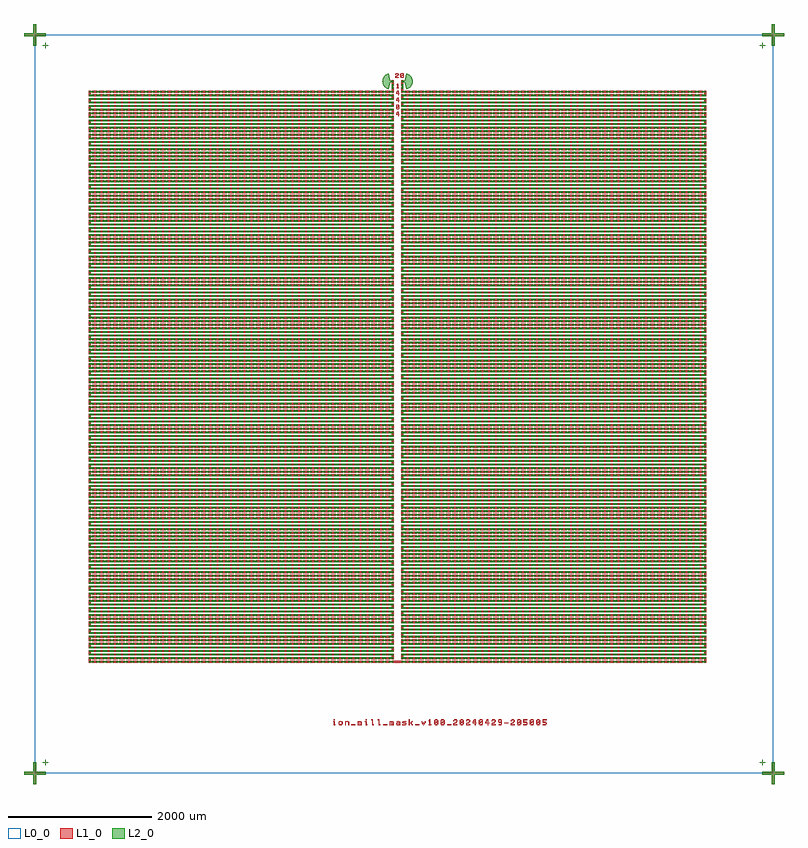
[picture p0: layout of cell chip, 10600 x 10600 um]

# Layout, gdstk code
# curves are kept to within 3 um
import gdstk
lib = gdstk.Library(unit=1e-6, precision=1e-09)
def R(c, l, rs):  # rectangles x0, y0, x1, y1
    for r in rs: c.add(gdstk.rectangle(r[:2], r[2:], *l))
def A(c, l, x, y, w, h, nx, ny, dx, dy):  # array of equal rectangles
    R(c, l, [(x+i*dx, y+j*dy, x+i*dx+w, y+j*dy+h) for i in range(nx) for j in range(ny)])
def P(c, l, *ps):  # polygons
    for p in ps: c.add(gdstk.Polygon(p, *l))
L0_0 = (0, 0)
L1_0 = (1, 0)
L2_0 = (2, 0)

chip = lib.new_cell('chip')
R(chip, L0_0, [(-150,-150,10150,10150), (0,0,10000,10000)])
A(chip, L1_0, 605, 1392.5, 25, 75, 1, 80, 0, 100)
A(chip, L1_0, 650, 1392.5, 75, 25, 44, 160, 95, 50)
A(chip, L1_0, 5010, 1392.5, 75, 25, 44, 160, 95, 50)
A(chip, L1_0, 9190, 1392.5, 25, 75, 1, 80, 0, 100)
A(chip, L1_0, 4830, 1442.5, 25, 75, 1, 80, 0, 100)
A(chip, L1_0, 4965, 1442.5, 25, 75, 1, 80, 0, 100)
R(chip, L1_0, [(5111.111,522.222,5122.222,533.333), (5266.667,522.222,5277.778,533.333), (4888.889,533.333,4900,544.444), (5022.222,533.333,5033.333,544.444), (5100,533.333,5111.111,544.444), (4977.778,555.556,4988.889,566.667), (5100,555.556,5111.111,566.667), (5444.444,555.556,5455.556,566.667), (5533.333,555.556,5544.444,566.667), (5722.222,555.556,5733.333,566.667), (5800,555.556,5811.111,566.667), (5900,555.556,5911.111,566.667), (6066.667,555.556,6077.778,566.667), (6255.556,555.556,6266.667,566.667), (6522.222,555.556,6533.333,566.667), (6600,555.556,6611.111,566.667), (6777.778,555.556,6788.889,566.667), (6866.667,555.556,6877.778,566.667), (5111.111,566.667,5122.222,577.778), (5688.889,577.778,5700,588.889), (5866.667,577.778,5877.778,588.889), (6222.222,577.778,6233.333,588.889), (6488.889,577.778,6500,588.889), (4022.222,588.889,4033.333,600), (4466.667,588.889,4477.778,600), (4830,1392.5,4990,1417.5), (4907.778,9138.611,4916.667,9147.5), (4830,9437.5,4855,9512.5), (4965,9437.5,4990,9512.5), (4906.667,9576.944,4915.556,9585.833), (4968.889,9576.944,4977.778,9585.833), (4880,9594.722,4888.889,9603.611)])
P(chip, L1_0, [(10170,10130),(10300,10130),(10300,10170),(10170,10170),(10170,10300),(10130,10300),(10130,10170),(10000,10170),(10000,10130),(10130,10130),(10130,10000),(10170,10000)],
  [(-130,10130),(0,10130),(0,10170),(-130,10170),(-130,10300),(-170,10300),(-170,10170),(-300,10170),(-300,10130),(-170,10130),(-170,10000),(-130,10000)],
  [(10170,-170),(10300,-170),(10300,-130),(10170,-130),(10170,0),(10130,0),(10130,-130),(10000,-130),(10000,-170),(10130,-170),(10130,-300),(10170,-300)],
  [(-130,-170),(0,-170),(0,-130),(-130,-130),(-130,0),(-170,0),(-170,-130),(-300,-130),(-300,-170),(-170,-170),(-170,-300),(-130,-300)],
  [(10005,9995),(10040,9995),(10040,10005),(10005,10005),(10005,10040),(9995,10040),(9995,10005),(9960,10005),(9960,9995),(9995,9995),(9995,9960),(10005,9960)],
  [(5,9995),(40,9995),(40,10005),(5,10005),(5,10040),(-5,10040),(-5,10005),(-40,10005),(-40,9995),(-5,9995),(-5,9960),(5,9960)],
  [(10005,-5),(10040,-5),(10040,5),(10005,5),(10005,40),(9995,40),(9995,5),(9960,5),(9960,-5),(9995,-5),(9995,-40),(10005,-40)],
  [(5,-5),(40,-5),(40,5),(5,5),(5,40),(-5,40),(-5,5),(-40,5),(-40,-5),(-5,-5),(-5,-40),(5,-40)],
  [(4011.111,566.667),(4022.222,566.667),(4022.222,555.556),(4022.222,544.444),(4022.222,533.333),(4022.222,522.222),(4033.333,522.222),(4044.444,522.222),(4044.444,533.333),(4033.333,533.333),(4033.333,544.444),(4033.333,555.556),(4033.333,566.667),(4033.333,577.778),(4022.222,577.778),(4011.111,577.778)],
  [(4088.889,533.333),(4100,533.333),(4100,544.444),(4100,555.556),(4100,566.667),(4088.889,566.667),(4088.889,555.556),(4088.889,544.444)],
  [(4100,522.222),(4111.111,522.222),(4122.222,522.222),(4133.333,522.222),(4133.333,533.333),(4122.222,533.333),(4111.111,533.333),(4100,533.333)],
  [(4100,566.667),(4111.111,566.667),(4122.222,566.667),(4133.333,566.667),(4133.333,577.778),(4122.222,577.778),(4111.111,577.778),(4100,577.778)],
  [(4133.333,533.333),(4144.444,533.333),(4144.444,544.444),(4144.444,555.556),(4144.444,566.667),(4133.333,566.667),(4133.333,555.556),(4133.333,544.444)],
  [(4177.778,522.222),(4188.889,522.222),(4188.889,533.333),(4188.889,544.444),(4188.889,555.556),(4188.889,566.667),(4200,566.667),(4211.111,566.667),(4222.222,566.667),(4222.222,577.778),(4211.111,577.778),(4200,577.778),(4188.889,577.778),(4177.778,577.778),(4177.778,566.667),(4177.778,555.556),(4177.778,544.444),(4177.778,533.333)],
  [(4222.222,522.222),(4233.333,522.222),(4233.333,533.333),(4233.333,544.444),(4233.333,555.556),(4233.333,566.667),(4222.222,566.667),(4222.222,555.556),(4222.222,544.444),(4222.222,533.333)],
  [(4266.667,522.222),(4277.778,522.222),(4288.889,522.222),(4300,522.222),(4311.111,522.222),(4322.222,522.222),(4322.222,533.333),(4311.111,533.333),(4300,533.333),(4288.889,533.333),(4277.778,533.333),(4266.667,533.333)],
  [(4355.556,522.222),(4366.667,522.222),(4366.667,533.333),(4366.667,544.444),(4366.667,555.556),(4366.667,566.667),(4377.778,566.667),(4377.778,555.556),(4377.778,544.444),(4377.778,533.333),(4377.778,522.222),(4388.889,522.222),(4388.889,533.333),(4388.889,544.444),(4388.889,555.556),(4388.889,566.667),(4400,566.667),(4400,577.778),(4388.889,577.778),(4377.778,577.778),(4366.667,577.778),(4355.556,577.778),(4355.556,566.667),(4355.556,555.556),(4355.556,544.444),(4355.556,533.333)],
  [(4400,522.222),(4411.111,522.222),(4411.111,533.333),(4411.111,544.444),(4411.111,555.556),(4411.111,566.667),(4400,566.667),(4400,555.556),(4400,544.444),(4400,533.333)],
  [(4455.556,566.667),(4466.667,566.667),(4466.667,555.556),(4466.667,544.444),(4466.667,533.333),(4466.667,522.222),(4477.778,522.222),(4488.889,522.222),(4488.889,533.333),(4477.778,533.333),(4477.778,544.444),(4477.778,555.556),(4477.778,566.667),(4477.778,577.778),(4466.667,577.778),(4455.556,577.778)],
  [(4544.444,588.889),(4555.556,588.889),(4555.556,577.778),(4555.556,566.667),(4555.556,555.556),(4555.556,544.444),(4555.556,533.333),(4555.556,522.222),(4566.667,522.222),(4577.778,522.222),(4577.778,533.333),(4566.667,533.333),(4566.667,544.444),(4566.667,555.556),(4566.667,566.667),(4566.667,577.778),(4566.667,588.889),(4566.667,600),(4555.556,600),(4544.444,600)],
  [(4633.333,588.889),(4644.444,588.889),(4644.444,577.778),(4644.444,566.667),(4644.444,555.556),(4644.444,544.444),(4644.444,533.333),(4644.444,522.222),(4655.556,522.222),(4666.667,522.222),(4666.667,533.333),(4655.556,533.333),(4655.556,544.444),(4655.556,555.556),(4655.556,566.667),(4655.556,577.778),(4655.556,588.889),(4655.556,600),(4644.444,600),(4633.333,600)],
  [(4711.111,522.222),(4722.222,522.222),(4733.333,522.222),(4744.444,522.222),(4755.556,522.222),(4766.667,522.222),(4766.667,533.333),(4755.556,533.333),(4744.444,533.333),(4733.333,533.333),(4722.222,533.333),(4711.111,533.333)],
  [(4800,522.222),(4811.111,522.222),(4811.111,533.333),(4811.111,544.444),(4811.111,555.556),(4811.111,566.667),(4822.222,566.667),(4822.222,555.556),(4822.222,544.444),(4822.222,533.333),(4822.222,522.222),(4833.333,522.222),(4833.333,533.333),(4833.333,544.444),(4833.333,555.556),(4833.333,566.667),(4844.444,566.667),(4844.444,577.778),(4833.333,577.778),(4822.222,577.778),(4811.111,577.778),(4800,577.778),(4800,566.667),(4800,555.556),(4800,544.444),(4800,533.333)],
  [(4844.444,522.222),(4855.556,522.222),(4855.556,533.333),(4855.556,544.444),(4855.556,555.556),(4855.556,566.667),(4844.444,566.667),(4844.444,555.556),(4844.444,544.444),(4844.444,533.333)],
  [(4900,522.222),(4911.111,522.222),(4922.222,522.222),(4933.333,522.222),(4944.444,522.222),(4944.444,533.333),(4944.444,544.444),(4944.444,555.556),(4944.444,566.667),(4933.333,566.667),(4933.333,555.556),(4922.222,555.556),(4911.111,555.556),(4900,555.556),(4900,544.444),(4911.111,544.444),(4922.222,544.444),(4933.333,544.444),(4933.333,533.333),(4922.222,533.333),(4911.111,533.333),(4900,533.333)],
  [(4900,566.667),(4911.111,566.667),(4922.222,566.667),(4933.333,566.667),(4933.333,577.778),(4922.222,577.778),(4911.111,577.778),(4900,577.778)],
  [(4977.778,522.222),(4988.889,522.222),(5000,522.222),(5011.111,522.222),(5022.222,522.222),(5022.222,533.333),(5011.111,533.333),(5000,533.333),(4988.889,533.333),(4977.778,533.333)],
  [(4988.889,544.444),(5000,544.444),(5011.111,544.444),(5022.222,544.444),(5022.222,555.556),(5011.111,555.556),(5000,555.556),(4988.889,555.556)],
  [(4988.889,566.667),(5000,566.667),(5011.111,566.667),(5022.222,566.667),(5033.333,566.667),(5033.333,577.778),(5022.222,577.778),(5011.111,577.778),(5000,577.778),(4988.889,577.778)],
  [(5066.667,522.222),(5077.778,522.222),(5077.778,533.333),(5077.778,544.444),(5088.889,544.444),(5100,544.444),(5100,555.556),(5088.889,555.556),(5077.778,555.556),(5077.778,566.667),(5077.778,577.778),(5077.778,588.889),(5077.778,600),(5066.667,600),(5066.667,588.889),(5066.667,577.778),(5066.667,566.667),(5066.667,555.556),(5066.667,544.444),(5066.667,533.333)],
  [(5155.556,522.222),(5166.667,522.222),(5177.778,522.222),(5188.889,522.222),(5200,522.222),(5211.111,522.222),(5211.111,533.333),(5200,533.333),(5188.889,533.333),(5177.778,533.333),(5166.667,533.333),(5155.556,533.333)],
  [(5244.444,555.556),(5255.556,555.556),(5255.556,566.667),(5255.556,577.778),(5244.444,577.778),(5244.444,566.667)],
  [(5255.556,533.333),(5266.667,533.333),(5266.667,544.444),(5266.667,555.556),(5255.556,555.556),(5255.556,544.444)],
  [(5277.778,533.333),(5288.889,533.333),(5288.889,544.444),(5288.889,555.556),(5277.778,555.556),(5277.778,544.444)],
  [(5288.889,555.556),(5300,555.556),(5300,566.667),(5300,577.778),(5288.889,577.778),(5288.889,566.667)],
  [(5344.444,522.222),(5355.556,522.222),(5366.667,522.222),(5377.778,522.222),(5377.778,533.333),(5366.667,533.333),(5366.667,544.444),(5366.667,555.556),(5366.667,566.667),(5366.667,577.778),(5366.667,588.889),(5366.667,600),(5355.556,600),(5355.556,588.889),(5344.444,588.889),(5344.444,577.778),(5355.556,577.778),(5355.556,566.667),(5355.556,555.556),(5355.556,544.444),(5355.556,533.333),(5344.444,533.333)],
  [(5422.222,533.333),(5433.333,533.333),(5433.333,544.444),(5444.444,544.444),(5444.444,555.556),(5433.333,555.556),(5433.333,566.667),(5433.333,577.778),(5433.333,588.889),(5422.222,588.889),(5422.222,577.778),(5422.222,566.667),(5422.222,555.556),(5422.222,544.444)],
  [(5433.333,522.222),(5444.444,522.222),(5455.556,522.222),(5466.667,522.222),(5466.667,533.333),(5455.556,533.333),(5444.444,533.333),(5433.333,533.333)],
  [(5433.333,588.889),(5444.444,588.889),(5455.556,588.889),(5466.667,588.889),(5466.667,600),(5455.556,600),(5444.444,600),(5433.333,600)],
  [(5455.556,566.667),(5466.667,566.667),(5466.667,555.556),(5466.667,544.444),(5466.667,533.333),(5477.778,533.333),(5477.778,544.444),(5477.778,555.556),(5477.778,566.667),(5477.778,577.778),(5477.778,588.889),(5466.667,588.889),(5466.667,577.778),(5455.556,577.778)],
  [(5511.111,533.333),(5522.222,533.333),(5522.222,544.444),(5533.333,544.444),(5533.333,555.556),(5522.222,555.556),(5522.222,566.667),(5522.222,577.778),(5522.222,588.889),(5511.111,588.889),(5511.111,577.778),(5511.111,566.667),(5511.111,555.556),(5511.111,544.444)],
  [(5522.222,522.222),(5533.333,522.222),(5544.444,522.222),(5555.556,522.222),(5555.556,533.333),(5544.444,533.333),(5533.333,533.333),(5522.222,533.333)],
  [(5522.222,588.889),(5533.333,588.889),(5544.444,588.889),(5555.556,588.889),(5555.556,600),(5544.444,600),(5533.333,600),(5522.222,600)],
  [(5544.444,566.667),(5555.556,566.667),(5555.556,555.556),(5555.556,544.444),(5555.556,533.333),(5566.667,533.333),(5566.667,544.444),(5566.667,555.556),(5566.667,566.667),(5566.667,577.778),(5566.667,588.889),(5555.556,588.889),(5555.556,577.778),(5544.444,577.778)],
  [(5600,522.222),(5611.111,522.222),(5622.222,522.222),(5633.333,522.222),(5644.444,522.222),(5655.556,522.222),(5655.556,533.333),(5644.444,533.333),(5633.333,533.333),(5622.222,533.333),(5611.111,533.333),(5600,533.333)],
  [(5688.889,522.222),(5700,522.222),(5711.111,522.222),(5722.222,522.222),(5733.333,522.222),(5744.444,522.222),(5744.444,533.333),(5733.333,533.333),(5722.222,533.333),(5711.111,533.333),(5700,533.333),(5700,544.444),(5688.889,544.444),(5688.889,533.333)],
  [(5700,544.444),(5711.111,544.444),(5722.222,544.444),(5722.222,555.556),(5711.111,555.556),(5700,555.556)],
  [(5700,588.889),(5711.111,588.889),(5722.222,588.889),(5733.333,588.889),(5733.333,600),(5722.222,600),(5711.111,600),(5700,600)],
  [(5733.333,566.667),(5744.444,566.667),(5744.444,577.778),(5744.444,588.889),(5733.333,588.889),(5733.333,577.778)],
  [(5777.778,533.333),(5788.889,533.333),(5788.889,544.444),(5800,544.444),(5800,555.556),(5788.889,555.556),(5788.889,566.667),(5788.889,577.778),(5788.889,588.889),(5777.778,588.889),(5777.778,577.778),(5777.778,566.667),(5777.778,555.556),(5777.778,544.444)],
  [(5788.889,522.222),(5800,522.222),(5811.111,522.222),(5822.222,522.222),(5822.222,533.333),(5811.111,533.333),(5800,533.333),(5788.889,533.333)],
  [(5788.889,588.889),(5800,588.889),(5811.111,588.889),(5822.222,588.889),(5822.222,600),(5811.111,600),(5800,600),(5788.889,600)],
  [(5811.111,566.667),(5822.222,566.667),(5822.222,555.556),(5822.222,544.444),(5822.222,533.333),(5833.333,533.333),(5833.333,544.444),(5833.333,555.556),(5833.333,566.667),(5833.333,577.778),(5833.333,588.889),(5822.222,588.889),(5822.222,577.778),(5811.111,577.778)],
  [(5866.667,522.222),(5877.778,522.222),(5888.889,522.222),(5900,522.222),(5911.111,522.222),(5922.222,522.222),(5922.222,533.333),(5911.111,533.333),(5900,533.333),(5888.889,533.333),(5877.778,533.333),(5877.778,544.444),(5866.667,544.444),(5866.667,533.333)],
  [(5877.778,544.444),(5888.889,544.444),(5900,544.444),(5900,555.556),(5888.889,555.556),(5877.778,555.556)],
  [(5877.778,588.889),(5888.889,588.889),(5900,588.889),(5911.111,588.889),(5911.111,600),(5900,600),(5888.889,600),(5877.778,600)],
  [(5911.111,566.667),(5922.222,566.667),(5922.222,577.778),(5922.222,588.889),(5911.111,588.889),(5911.111,577.778)],
  [(5955.556,544.444),(5966.667,544.444),(5977.778,544.444),(5988.889,544.444),(5988.889,533.333),(5988.889,522.222),(6000,522.222),(6000,533.333),(6000,544.444),(6011.111,544.444),(6011.111,555.556),(6000,555.556),(6000,566.667),(6000,577.778),(6000,588.889),(6000,600),(5988.889,600),(5977.778,600),(5977.778,588.889),(5988.889,588.889),(5988.889,577.778),(5988.889,566.667),(5988.889,555.556),(5977.778,555.556),(5966.667,555.556),(5966.667,566.667),(5955.556,566.667),(5955.556,555.556)],
  [(5966.667,566.667),(5977.778,566.667),(5977.778,577.778),(5977.778,588.889),(5966.667,588.889),(5966.667,577.778)],
  [(6044.444,533.333),(6055.556,533.333),(6055.556,544.444),(6066.667,544.444),(6066.667,555.556),(6055.556,555.556),(6055.556,566.667),(6055.556,577.778),(6055.556,588.889),(6044.444,588.889),(6044.444,577.778),(6044.444,566.667),(6044.444,555.556),(6044.444,544.444)],
  [(6055.556,522.222),(6066.667,522.222),(6077.778,522.222),(6088.889,522.222),(6088.889,533.333),(6077.778,533.333),(6066.667,533.333),(6055.556,533.333)],
  [(6055.556,588.889),(6066.667,588.889),(6077.778,588.889),(6088.889,588.889),(6088.889,600),(6077.778,600),(6066.667,600),(6055.556,600)],
  [(6077.778,566.667),(6088.889,566.667),(6088.889,555.556),(6088.889,544.444),(6088.889,533.333),(6100,533.333),(6100,544.444),(6100,555.556),(6100,566.667),(6100,577.778),(6100,588.889),(6088.889,588.889),(6088.889,577.778),(6077.778,577.778)],
  [(6133.333,544.444),(6144.444,544.444),(6155.556,544.444),(6166.667,544.444),(6166.667,533.333),(6166.667,522.222),(6177.778,522.222),(6177.778,533.333),(6177.778,544.444),(6188.889,544.444),(6188.889,555.556),(6177.778,555.556),(6177.778,566.667),(6177.778,577.778),(6177.778,588.889),(6177.778,600),(6166.667,600),(6155.556,600),(6155.556,588.889),(6166.667,588.889),(6166.667,577.778),(6166.667,566.667),(6166.667,555.556),(6155.556,555.556),(6144.444,555.556),(6144.444,566.667),(6133.333,566.667),(6133.333,555.556)],
  [(6144.444,566.667),(6155.556,566.667),(6155.556,577.778),(6155.556,588.889),(6144.444,588.889),(6144.444,577.778)],
  [(6222.222,522.222),(6233.333,522.222),(6244.444,522.222),(6255.556,522.222),(6266.667,522.222),(6277.778,522.222),(6277.778,533.333),(6266.667,533.333),(6255.556,533.333),(6244.444,533.333),(6233.333,533.333),(6233.333,544.444),(6222.222,544.444),(6222.222,533.333)],
  [(6233.333,544.444),(6244.444,544.444),(6255.556,544.444),(6255.556,555.556),(6244.444,555.556),(6233.333,555.556)],
  [(6233.333,588.889),(6244.444,588.889),(6255.556,588.889),(6266.667,588.889),(6266.667,600),(6255.556,600),(6244.444,600),(6233.333,600)],
  [(6266.667,566.667),(6277.778,566.667),(6277.778,577.778),(6277.778,588.889),(6266.667,588.889),(6266.667,577.778)],
  [(6311.111,566.667),(6322.222,566.667),(6322.222,577.778),(6322.222,588.889),(6311.111,588.889),(6311.111,577.778)],
  [(6322.222,522.222),(6333.333,522.222),(6344.444,522.222),(6355.556,522.222),(6355.556,533.333),(6344.444,533.333),(6333.333,533.333),(6322.222,533.333)],
  [(6322.222,555.556),(6333.333,555.556),(6344.444,555.556),(6355.556,555.556),(6355.556,544.444),(6355.556,533.333),(6366.667,533.333),(6366.667,544.444),(6366.667,555.556),(6366.667,566.667),(6366.667,577.778),(6366.667,588.889),(6355.556,588.889),(6355.556,577.778),(6355.556,566.667),(6344.444,566.667),(6333.333,566.667),(6322.222,566.667)],
  [(6322.222,588.889),(6333.333,588.889),(6344.444,588.889),(6355.556,588.889),(6355.556,600),(6344.444,600),(6333.333,600),(6322.222,600)],
  [(6400,544.444),(6411.111,544.444),(6422.222,544.444),(6433.333,544.444),(6444.444,544.444),(6455.556,544.444),(6455.556,555.556),(6444.444,555.556),(6433.333,555.556),(6422.222,555.556),(6411.111,555.556),(6400,555.556)],
  [(6488.889,522.222),(6500,522.222),(6511.111,522.222),(6522.222,522.222),(6533.333,522.222),(6544.444,522.222),(6544.444,533.333),(6533.333,533.333),(6522.222,533.333),(6511.111,533.333),(6500,533.333),(6500,544.444),(6488.889,544.444),(6488.889,533.333)],
  [(6500,544.444),(6511.111,544.444),(6522.222,544.444),(6522.222,555.556),(6511.111,555.556),(6500,555.556)],
  [(6500,588.889),(6511.111,588.889),(6522.222,588.889),(6533.333,588.889),(6533.333,600),(6522.222,600),(6511.111,600),(6500,600)],
  [(6533.333,566.667),(6544.444,566.667),(6544.444,577.778),(6544.444,588.889),(6533.333,588.889),(6533.333,577.778)],
  [(6577.778,533.333),(6588.889,533.333),(6588.889,544.444),(6600,544.444),(6600,555.556),(6588.889,555.556),(6588.889,566.667),(6588.889,577.778),(6588.889,588.889),(6577.778,588.889),(6577.778,577.778),(6577.778,566.667),(6577.778,555.556),(6577.778,544.444)],
  [(6588.889,522.222),(6600,522.222),(6611.111,522.222),(6622.222,522.222),(6622.222,533.333),(6611.111,533.333),(6600,533.333),(6588.889,533.333)],
  [(6588.889,588.889),(6600,588.889),(6611.111,588.889),(6622.222,588.889),(6622.222,600),(6611.111,600),(6600,600),(6588.889,600)],
  [(6611.111,566.667),(6622.222,566.667),(6622.222,555.556),(6622.222,544.444),(6622.222,533.333),(6633.333,533.333),(6633.333,544.444),(6633.333,555.556),(6633.333,566.667),(6633.333,577.778),(6633.333,588.889),(6622.222,588.889),(6622.222,577.778),(6611.111,577.778)],
  [(6666.667,522.222),(6677.778,522.222),(6688.889,522.222),(6700,522.222),(6711.111,522.222),(6711.111,533.333),(6700,533.333),(6688.889,533.333),(6677.778,533.333),(6666.667,533.333)],
  [(6666.667,555.556),(6677.778,555.556),(6688.889,555.556),(6700,555.556),(6711.111,555.556),(6711.111,566.667),(6700,566.667),(6688.889,566.667),(6677.778,566.667),(6677.778,577.778),(6677.778,588.889),(6688.889,588.889),(6700,588.889),(6711.111,588.889),(6722.222,588.889),(6722.222,600),(6711.111,600),(6700,600),(6688.889,600),(6677.778,600),(6666.667,600),(6666.667,588.889),(6666.667,577.778),(6666.667,566.667)],
  [(6711.111,533.333),(6722.222,533.333),(6722.222,544.444),(6722.222,555.556),(6711.111,555.556),(6711.111,544.444)],
  [(6755.556,533.333),(6766.667,533.333),(6766.667,544.444),(6777.778,544.444),(6777.778,555.556),(6766.667,555.556),(6766.667,566.667),(6766.667,577.778),(6766.667,588.889),(6755.556,588.889),(6755.556,577.778),(6755.556,566.667),(6755.556,555.556),(6755.556,544.444)],
  [(6766.667,522.222),(6777.778,522.222),(6788.889,522.222),(6800,522.222),(6800,533.333),(6788.889,533.333),(6777.778,533.333),(6766.667,533.333)],
  [(6766.667,588.889),(6777.778,588.889),(6788.889,588.889),(6800,588.889),(6800,600),(6788.889,600),(6777.778,600),(6766.667,600)],
  [(6788.889,566.667),(6800,566.667),(6800,555.556),(6800,544.444),(6800,533.333),(6811.111,533.333),(6811.111,544.444),(6811.111,555.556),(6811.111,566.667),(6811.111,577.778),(6811.111,588.889),(6800,588.889),(6800,577.778),(6788.889,577.778)],
  [(6844.444,533.333),(6855.556,533.333),(6855.556,544.444),(6866.667,544.444),(6866.667,555.556),(6855.556,555.556),(6855.556,566.667),(6855.556,577.778),(6855.556,588.889),(6844.444,588.889),(6844.444,577.778),(6844.444,566.667),(6844.444,555.556),(6844.444,544.444)],
  [(6855.556,522.222),(6866.667,522.222),(6877.778,522.222),(6888.889,522.222),(6888.889,533.333),(6877.778,533.333),(6866.667,533.333),(6855.556,533.333)],
  [(6855.556,588.889),(6866.667,588.889),(6877.778,588.889),(6888.889,588.889),(6888.889,600),(6877.778,600),(6866.667,600),(6855.556,600)],
  [(6877.778,566.667),(6888.889,566.667),(6888.889,555.556),(6888.889,544.444),(6888.889,533.333),(6900,533.333),(6900,544.444),(6900,555.556),(6900,566.667),(6900,577.778),(6900,588.889),(6888.889,588.889),(6888.889,577.778),(6877.778,577.778)],
  [(6933.333,522.222),(6944.444,522.222),(6955.556,522.222),(6966.667,522.222),(6977.778,522.222),(6977.778,533.333),(6966.667,533.333),(6955.556,533.333),(6944.444,533.333),(6933.333,533.333)],
  [(6933.333,555.556),(6944.444,555.556),(6955.556,555.556),(6966.667,555.556),(6977.778,555.556),(6977.778,566.667),(6966.667,566.667),(6955.556,566.667),(6944.444,566.667),(6944.444,577.778),(6944.444,588.889),(6955.556,588.889),(6966.667,588.889),(6977.778,588.889),(6988.889,588.889),(6988.889,600),(6977.778,600),(6966.667,600),(6955.556,600),(6944.444,600),(6933.333,600),(6933.333,588.889),(6933.333,577.778),(6933.333,566.667)],
  [(6977.778,533.333),(6988.889,533.333),(6988.889,544.444),(6988.889,555.556),(6977.778,555.556),(6977.778,544.444)],
  [(4898.889,9405.278),(4907.778,9405.278),(4916.667,9405.278),(4925.556,9405.278),(4925.556,9414.167),(4916.667,9414.167),(4916.667,9423.056),(4916.667,9431.944),(4916.667,9440.833),(4916.667,9449.722),(4916.667,9458.611),(4916.667,9467.5),(4907.778,9467.5),(4907.778,9458.611),(4898.889,9458.611),(4898.889,9449.722),(4907.778,9449.722),(4907.778,9440.833),(4907.778,9431.944),(4907.778,9423.056),(4907.778,9414.167),(4898.889,9414.167)],
  [(4890,9325.278),(4898.889,9325.278),(4907.778,9325.278),(4916.667,9325.278),(4916.667,9316.389),(4916.667,9307.5),(4925.556,9307.5),(4925.556,9316.389),(4925.556,9325.278),(4934.444,9325.278),(4934.444,9334.167),(4925.556,9334.167),(4925.556,9343.056),(4925.556,9351.944),(4925.556,9360.833),(4925.556,9369.722),(4916.667,9369.722),(4907.778,9369.722),(4907.778,9360.833),(4916.667,9360.833),(4916.667,9351.944),(4916.667,9343.056),(4916.667,9334.167),(4907.778,9334.167),(4898.889,9334.167),(4898.889,9343.056),(4890,9343.056),(4890,9334.167)],
  [(4898.889,9343.056),(4907.778,9343.056),(4907.778,9351.944),(4907.778,9360.833),(4898.889,9360.833),(4898.889,9351.944)],
  [(4890,9227.5),(4898.889,9227.5),(4907.778,9227.5),(4916.667,9227.5),(4916.667,9218.611),(4916.667,9209.722),(4925.556,9209.722),(4925.556,9218.611),(4925.556,9227.5),(4934.444,9227.5),(4934.444,9236.389),(4925.556,9236.389),(4925.556,9245.278),(4925.556,9254.167),(4925.556,9263.056),(4925.556,9271.944),(4916.667,9271.944),(4907.778,9271.944),(4907.778,9263.056),(4916.667,9263.056),(4916.667,9254.167),(4916.667,9245.278),(4916.667,9236.389),(4907.778,9236.389),(4898.889,9236.389),(4898.889,9245.278),(4890,9245.278),(4890,9236.389)],
  [(4898.889,9245.278),(4907.778,9245.278),(4907.778,9254.167),(4907.778,9263.056),(4898.889,9263.056),(4898.889,9254.167)],
  [(4890,9120.833),(4898.889,9120.833),(4898.889,9129.722),(4907.778,9129.722),(4907.778,9138.611),(4898.889,9138.611),(4898.889,9147.5),(4898.889,9156.389),(4898.889,9165.278),(4890,9165.278),(4890,9156.389),(4890,9147.5),(4890,9138.611),(4890,9129.722)],
  [(4898.889,9111.944),(4907.778,9111.944),(4916.667,9111.944),(4925.556,9111.944),(4925.556,9120.833),(4916.667,9120.833),(4907.778,9120.833),(4898.889,9120.833)],
  [(4898.889,9165.278),(4907.778,9165.278),(4916.667,9165.278),(4925.556,9165.278),(4925.556,9174.167),(4916.667,9174.167),(4907.778,9174.167),(4898.889,9174.167)],
  [(4916.667,9147.5),(4925.556,9147.5),(4925.556,9138.611),(4925.556,9129.722),(4925.556,9120.833),(4934.444,9120.833),(4934.444,9129.722),(4934.444,9138.611),(4934.444,9147.5),(4934.444,9156.389),(4934.444,9165.278),(4925.556,9165.278),(4925.556,9156.389),(4916.667,9156.389)],
  [(4890,9031.944),(4898.889,9031.944),(4907.778,9031.944),(4916.667,9031.944),(4916.667,9023.056),(4916.667,9014.167),(4925.556,9014.167),(4925.556,9023.056),(4925.556,9031.944),(4934.444,9031.944),(4934.444,9040.833),(4925.556,9040.833),(4925.556,9049.722),(4925.556,9058.611),(4925.556,9067.5),(4925.556,9076.389),(4916.667,9076.389),(4907.778,9076.389),(4907.778,9067.5),(4916.667,9067.5),(4916.667,9058.611),(4916.667,9049.722),(4916.667,9040.833),(4907.778,9040.833),(4898.889,9040.833),(4898.889,9049.722),(4890,9049.722),(4890,9040.833)],
  [(4898.889,9049.722),(4907.778,9049.722),(4907.778,9058.611),(4907.778,9067.5),(4898.889,9067.5),(4898.889,9058.611)],
  [(4880,9550.278),(4888.889,9550.278),(4897.778,9550.278),(4906.667,9550.278),(4915.556,9550.278),(4924.444,9550.278),(4924.444,9559.167),(4915.556,9559.167),(4906.667,9559.167),(4897.778,9559.167),(4888.889,9559.167),(4888.889,9568.056),(4880,9568.056),(4880,9559.167)],
  [(4888.889,9568.056),(4897.778,9568.056),(4906.667,9568.056),(4906.667,9576.944),(4897.778,9576.944),(4888.889,9576.944)],
  [(4888.889,9603.611),(4897.778,9603.611),(4906.667,9603.611),(4915.556,9603.611),(4915.556,9612.5),(4906.667,9612.5),(4897.778,9612.5),(4888.889,9612.5)],
  [(4915.556,9585.833),(4924.444,9585.833),(4924.444,9594.722),(4924.444,9603.611),(4915.556,9603.611),(4915.556,9594.722)],
  [(4951.111,9559.167),(4960,9559.167),(4960,9568.056),(4968.889,9568.056),(4968.889,9576.944),(4960,9576.944),(4960,9585.833),(4960,9594.722),(4960,9603.611),(4951.111,9603.611),(4951.111,9594.722),(4951.111,9585.833),(4951.111,9576.944),(4951.111,9568.056)],
  [(4960,9550.278),(4968.889,9550.278),(4977.778,9550.278),(4986.667,9550.278),(4986.667,9559.167),(4977.778,9559.167),(4968.889,9559.167),(4960,9559.167)],
  [(4960,9603.611),(4968.889,9603.611),(4977.778,9603.611),(4986.667,9603.611),(4986.667,9612.5),(4977.778,9612.5),(4968.889,9612.5),(4960,9612.5)],
  [(4977.778,9585.833),(4986.667,9585.833),(4986.667,9576.944),(4986.667,9568.056),(4986.667,9559.167),(4995.556,9559.167),(4995.556,9568.056),(4995.556,9576.944),(4995.556,9585.833),(4995.556,9594.722),(4995.556,9603.611),(4986.667,9603.611),(4986.667,9594.722),(4977.778,9594.722)])
A(chip, L2_0, 610, 1395, 60, 20, 45, 160, 95, 50)
A(chip, L2_0, 4970, 1395, 60, 20, 45, 160, 95, 50)
R(chip, L2_0, [(4832.5,9397.5,4852.5,9457.5), (4967.5,9397.5,4987.5,9457.5)])
P(chip, L2_0, [(10170,10130),(10300,10130),(10300,10170),(10170,10170),(10170,10300),(10130,10300),(10130,10170),(10000,10170),(10000,10130),(10130,10130),(10130,10000),(10170,10000)],
  [(-130,10130),(0,10130),(0,10170),(-130,10170),(-130,10300),(-170,10300),(-170,10170),(-300,10170),(-300,10130),(-170,10130),(-170,10000),(-130,10000)],
  [(10170,-170),(10300,-170),(10300,-130),(10170,-130),(10170,0),(10130,0),(10130,-130),(10000,-130),(10000,-170),(10130,-170),(10130,-300),(10170,-300)],
  [(-130,-170),(0,-170),(0,-130),(-130,-130),(-130,0),(-170,0),(-170,-130),(-300,-130),(-300,-170),(-170,-170),(-170,-300),(-130,-300)],
  [(10005,9995),(10040,9995),(10040,10005),(10005,10005),(10005,10040),(9995,10040),(9995,10005),(9960,10005),(9960,9995),(9995,9995),(9995,9960),(10005,9960)],
  [(5,9995),(40,9995),(40,10005),(5,10005),(5,10040),(-5,10040),(-5,10005),(-40,10005),(-40,9995),(-5,9995),(-5,9960),(5,9960)],
  [(10005,-5),(10040,-5),(10040,5),(10005,5),(10005,40),(9995,40),(9995,5),(9960,5),(9960,-5),(9995,-5),(9995,-40),(10005,-40)],
  [(5,-5),(40,-5),(40,5),(5,5),(5,40),(-5,40),(-5,5),(-40,5),(-40,-5),(-5,-5),(-5,-40),(5,-40)],
  [(5032.682,9392.39),(5067.534,9406.246),(5096.421,9431.946),(5113.704,9463.32),(5119.99,9501.47),(4970,9501.47),(4970,9490),(5011.99,9490)],
  [(5119.989,9501.524),(5112.667,9539.488),(5094.537,9570.381),(5067.488,9593.782),(5032.682,9607.61),(5011.99,9510),(4970,9510),(4970,9501.47)],
  [(4787.461,9392.389),(4808.01,9490),(4850,9490),(4850,9501.47),(4700.01,9501.47),(4706.296,9463.32),(4723.579,9431.946),(4752.466,9406.246)],
  [(4850,9510),(4808.01,9510),(4787.318,9607.61),(4752.512,9593.782),(4725.463,9570.381),(4706.314,9536.731),(4700.01,9501.47),(4850,9501.47)])

lib.write_gds('chip.gds')
